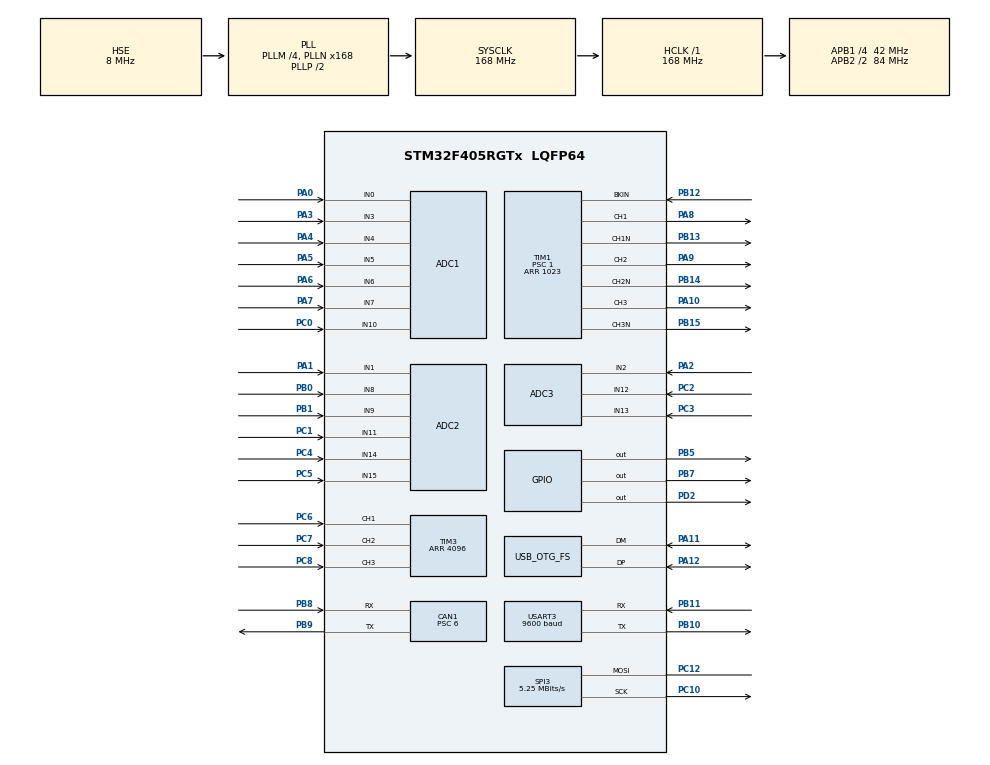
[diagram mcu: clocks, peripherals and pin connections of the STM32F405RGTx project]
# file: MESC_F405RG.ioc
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ADC1.Channel-0\#ChannelRegularConversion=ADC_CHANNEL_3
ADC1.Channel-1\#ChannelInjectedConversion=ADC_CHANNEL_10
ADC1.Channel-2\#ChannelInjectedConversion=ADC_CHANNEL_0
ADC1.Channel-3\#ChannelInjectedConversion=ADC_CHANNEL_4
ADC1.Channel-5\#ChannelRegularConversion=ADC_CHANNEL_4
ADC1.Channel-6\#ChannelRegularConversion=ADC_CHANNEL_5
ADC1.Channel-7\#ChannelRegularConversion=ADC_CHANNEL_6
ADC1.Channel-8\#ChannelRegularConversion=ADC_CHANNEL_7
ADC1.Channel-9\#ChannelInjectedConversion=ADC_CHANNEL_5
ADC1.DMAContinuousRequests=ENABLE
ADC1.EOCSelection=ADC_EOC_SEQ_CONV
ADC1.EnableAnalogWatchDog=true
ADC1.ExternalTrigConv=ADC_EXTERNALTRIGCONV_T2_TRGO
ADC1.ExternalTrigConvEdge=ADC_EXTERNALTRIGCONVEDGE_RISING
ADC1.ExternalTrigInjecConv=ADC_EXTERNALTRIGINJECCONV_T1_TRGO
ADC1.ExternalTrigInjecConvEdge=ADC_EXTERNALTRIGINJECCONVEDGE_FALLING
ADC1.HighThreshold=4048
ADC1.ITMode=ENABLE
ADC1.InjNumberOfConversion=4
ADC1.InjectedOffset-1\#ChannelInjectedConversion=0
ADC1.InjectedOffset-2\#ChannelInjectedConversion=0
ADC1.InjectedOffset-3\#ChannelInjectedConversion=0
ADC1.InjectedOffset-9\#ChannelInjectedConversion=0
ADC1.InjectedRank-1\#ChannelInjectedConversion=1
ADC1.InjectedRank-2\#ChannelInjectedConversion=2
ADC1.InjectedRank-3\#ChannelInjectedConversion=3
ADC1.InjectedRank-9\#ChannelInjectedConversion=4
ADC1.LowThreshold=48
ADC1.NbrOfConversion=5
ADC1.NbrOfConversionFlag=1
ADC1.Rank-0\#ChannelRegularConversion=1
ADC1.Rank-5\#ChannelRegularConversion=2
ADC1.Rank-6\#ChannelRegularConversion=3
ADC1.Rank-7\#ChannelRegularConversion=4
ADC1.Rank-8\#ChannelRegularConversion=5
ADC1.SamplingTime-0\#ChannelRegularConversion=ADC_SAMPLETIME_15CYCLES
ADC1.SamplingTime-1\#ChannelInjectedConversion=ADC_SAMPLETIME_15CYCLES
ADC1.SamplingTime-2\#ChannelInjectedConversion=ADC_SAMPLETIME_15CYCLES
ADC1.SamplingTime-3\#ChannelInjectedConversion=ADC_SAMPLETIME_15CYCLES
ADC1.SamplingTime-5\#ChannelRegularConversion=ADC_SAMPLETIME_15CYCLES
ADC1.SamplingTime-6\#ChannelRegularConversion=ADC_SAMPLETIME_15CYCLES
ADC1.SamplingTime-7\#ChannelRegularConversion=ADC_SAMPLETIME_15CYCLES
ADC1.SamplingTime-8\#ChannelRegularConversion=ADC_SAMPLETIME_15CYCLES
ADC1.SamplingTime-9\#ChannelInjectedConversion=ADC_SAMPLETIME_15CYCLES
ADC1.ScanConvMode=ENABLE
ADC1.WatchdogChannel=ADC_CHANNEL_10
ADC1.WatchdogMode=ADC_ANALOGWATCHDOG_SINGLE_INJEC
ADC1.master=1
ADC2.Channel-0\#ChannelRegularConversion=ADC_CHANNEL_14
ADC2.Channel-1\#ChannelInjectedConversion=ADC_CHANNEL_11
ADC2.Channel-2\#ChannelInjectedConversion=ADC_CHANNEL_1
ADC2.Channel-3\#ChannelInjectedConversion=ADC_CHANNEL_14
ADC2.Channel-5\#ChannelRegularConversion=ADC_CHANNEL_15
ADC2.Channel-6\#ChannelRegularConversion=ADC_CHANNEL_8
ADC2.Channel-7\#ChannelRegularConversion=ADC_CHANNEL_9
ADC2.Channel-8\#ChannelInjectedConversion=ADC_CHANNEL_15
ADC2.DMAContinuousRequests=ENABLE
ADC2.EOCSelection=ADC_EOC_SEQ_CONV
ADC2.EnableAnalogWatchDog=true
ADC2.ExternalTrigConv=ADC_EXTERNALTRIGCONV_T2_TRGO
ADC2.ExternalTrigInjecConv=ADC_EXTERNALTRIGINJECCONV_T1_TRGO
ADC2.ExternalTrigInjecConvEdge=ADC_EXTERNALTRIGINJECCONVEDGE_FALLING
ADC2.HighThreshold=4048
ADC2.ITMode=ENABLE
ADC2.InjNumberOfConversion=4
ADC2.InjectedOffset-1\#ChannelInjectedConversion=0
ADC2.InjectedOffset-2\#ChannelInjectedConversion=0
ADC2.InjectedOffset-3\#ChannelInjectedConversion=0
ADC2.InjectedOffset-8\#ChannelInjectedConversion=0
ADC2.InjectedRank-1\#ChannelInjectedConversion=1
ADC2.InjectedRank-2\#ChannelInjectedConversion=2
ADC2.InjectedRank-3\#ChannelInjectedConversion=3
ADC2.InjectedRank-8\#ChannelInjectedConversion=4
ADC2.LowThreshold=48
ADC2.NbrOfConversion=4
ADC2.NbrOfConversionFlag=1
ADC2.Rank-0\#ChannelRegularConversion=1
ADC2.Rank-5\#ChannelRegularConversion=2
ADC2.Rank-6\#ChannelRegularConversion=3
ADC2.Rank-7\#ChannelRegularConversion=4
ADC2.SamplingTime-0\#ChannelRegularConversion=ADC_SAMPLETIME_15CYCLES
ADC2.SamplingTime-1\#ChannelInjectedConversion=ADC_SAMPLETIME_15CYCLES
ADC2.SamplingTime-2\#ChannelInjectedConversion=ADC_SAMPLETIME_15CYCLES
ADC2.SamplingTime-3\#ChannelInjectedConversion=ADC_SAMPLETIME_15CYCLES
ADC2.SamplingTime-5\#ChannelRegularConversion=ADC_SAMPLETIME_15CYCLES
ADC2.SamplingTime-6\#ChannelRegularConversion=ADC_SAMPLETIME_15CYCLES
ADC2.SamplingTime-7\#ChannelRegularConversion=ADC_SAMPLETIME_15CYCLES
ADC2.SamplingTime-8\#ChannelInjectedConversion=ADC_SAMPLETIME_15CYCLES
ADC2.WatchdogChannel=ADC_CHANNEL_11
ADC2.WatchdogMode=ADC_ANALOGWATCHDOG_SINGLE_INJEC
ADC3.Channel-0\#ChannelRegularConversion=ADC_CHANNEL_12
ADC3.Channel-1\#ChannelInjectedConversion=ADC_CHANNEL_12
ADC3.Channel-2\#ChannelInjectedConversion=ADC_CHANNEL_2
ADC3.Channel-3\#ChannelInjectedConversion=ADC_CHANNEL_13
ADC3.Channel-4\#ChannelInjectedConversion=ADC_CHANNEL_2
ADC3.EOCSelection=ADC_EOC_SEQ_CONV
ADC3.EnableAnalogWatchDog=true
ADC3.ExternalTrigInjecConv=ADC_EXTERNALTRIGINJECCONV_T1_TRGO
ADC3.ExternalTrigInjecConvEdge=ADC_EXTERNALTRIGINJECCONVEDGE_FALLING
ADC3.HighThreshold=4048
ADC3.ITMode=ENABLE
ADC3.InjNumberOfConversion=4
ADC3.InjectedOffset-1\#ChannelInjectedConversion=0
ADC3.InjectedOffset-2\#ChannelInjectedConversion=0
ADC3.InjectedOffset-3\#ChannelInjectedConversion=0
ADC3.InjectedOffset-4\#ChannelInjectedConversion=0
ADC3.InjectedRank-1\#ChannelInjectedConversion=1
ADC3.InjectedRank-2\#ChannelInjectedConversion=2
ADC3.InjectedRank-3\#ChannelInjectedConversion=3
ADC3.InjectedRank-4\#ChannelInjectedConversion=4
ADC3.LowThreshold=48
ADC3.NbrOfConversionFlag=1
ADC3.Rank-0\#ChannelRegularConversion=1
ADC3.SamplingTime-0\#ChannelRegularConversion=ADC_SAMPLETIME_15CYCLES
ADC3.SamplingTime-1\#ChannelInjectedConversion=ADC_SAMPLETIME_15CYCLES
ADC3.SamplingTime-2\#ChannelInjectedConversion=ADC_SAMPLETIME_15CYCLES
ADC3.SamplingTime-3\#ChannelInjectedConversion=ADC_SAMPLETIME_15CYCLES
ADC3.SamplingTime-4\#ChannelInjectedConversion=ADC_SAMPLETIME_15CYCLES
ADC3.WatchdogChannel=ADC_CHANNEL_12
ADC3.WatchdogMode=ADC_ANALOGWATCHDOG_SINGLE_INJEC
CAN1.BS1=CAN_BS1_11TQ
CAN1.BS2=CAN_BS2_2TQ
CAN1.CalculateBaudRate=500000
CAN1.CalculateTimeBit=2000
CAN1.CalculateTimeQuantum=142.85714285714286
CAN1.NART=DISABLE
CAN1.Prescaler=6
CAN1.SJW=CAN_SJW_2TQ
CAN1.TXFP=ENABLE
Dma.ADC1.2.Direction=DMA_PERIPH_TO_MEMORY
Dma.ADC1.2.FIFOMode=DMA_FIFOMODE_DISABLE
Dma.ADC1.2.Instance=DMA2_Stream0
Dma.ADC1.2.MemDataAlignment=DMA_MDATAALIGN_WORD
Dma.ADC1.2.MemInc=DMA_MINC_ENABLE
Dma.ADC1.2.Mode=DMA_CIRCULAR
Dma.ADC1.2.PeriphDataAlignment=DMA_PDATAALIGN_WORD
Dma.ADC1.2.PeriphInc=DMA_PINC_DISABLE
Dma.ADC1.2.Priority=DMA_PRIORITY_LOW
Dma.ADC2.3.Direction=DMA_PERIPH_TO_MEMORY
Dma.ADC2.3.FIFOMode=DMA_FIFOMODE_DISABLE
Dma.ADC2.3.Instance=DMA2_Stream2
Dma.ADC2.3.MemDataAlignment=DMA_MDATAALIGN_WORD
Dma.ADC2.3.MemInc=DMA_MINC_ENABLE
Dma.ADC2.3.Mode=DMA_CIRCULAR
Dma.ADC2.3.PeriphDataAlignment=DMA_PDATAALIGN_WORD
Dma.ADC2.3.PeriphInc=DMA_PINC_DISABLE
Dma.ADC2.3.Priority=DMA_PRIORITY_LOW
Dma.Request0=USART3_TX
Dma.Request1=USART3_RX
Dma.Request2=ADC1
Dma.Request3=ADC2
Dma.Request4=SPI3_RX
Dma.Request5=SPI3_TX
Dma.SPI3_RX.4.Direction=DMA_PERIPH_TO_MEMORY
Dma.SPI3_RX.4.FIFOMode=DMA_FIFOMODE_DISABLE
Dma.SPI3_RX.4.Instance=DMA1_Stream0
Dma.SPI3_RX.4.MemDataAlignment=DMA_MDATAALIGN_HALFWORD
Dma.SPI3_RX.4.MemInc=DMA_MINC_ENABLE
Dma.SPI3_RX.4.Mode=DMA_NORMAL
Dma.SPI3_RX.4.PeriphDataAlignment=DMA_PDATAALIGN_HALFWORD
Dma.SPI3_RX.4.PeriphInc=DMA_PINC_DISABLE
Dma.SPI3_RX.4.Priority=DMA_PRIORITY_LOW
Dma.SPI3_TX.5.Direction=DMA_MEMORY_TO_PERIPH
Dma.SPI3_TX.5.FIFOMode=DMA_FIFOMODE_DISABLE
Dma.SPI3_TX.5.Instance=DMA1_Stream5
Dma.SPI3_TX.5.MemDataAlignment=DMA_MDATAALIGN_HALFWORD
Dma.SPI3_TX.5.MemInc=DMA_MINC_ENABLE
Dma.SPI3_TX.5.Mode=DMA_NORMAL
Dma.SPI3_TX.5.PeriphDataAlignment=DMA_PDATAALIGN_HALFWORD
Dma.SPI3_TX.5.PeriphInc=DMA_PINC_DISABLE
Dma.SPI3_TX.5.Priority=DMA_PRIORITY_LOW
Dma.USART3_RX.1.Direction=DMA_PERIPH_TO_MEMORY
Dma.USART3_RX.1.FIFOMode=DMA_FIFOMODE_DISABLE
Dma.USART3_RX.1.Instance=DMA1_Stream1
Dma.USART3_RX.1.MemDataAlignment=DMA_MDATAALIGN_BYTE
Dma.USART3_RX.1.MemInc=DMA_MINC_ENABLE
Dma.USART3_RX.1.Mode=DMA_CIRCULAR
Dma.USART3_RX.1.PeriphDataAlignment=DMA_PDATAALIGN_BYTE
Dma.USART3_RX.1.PeriphInc=DMA_PINC_DISABLE
Dma.USART3_RX.1.Priority=DMA_PRIORITY_LOW
Dma.USART3_TX.0.Direction=DMA_MEMORY_TO_PERIPH
Dma.USART3_TX.0.FIFOMode=DMA_FIFOMODE_DISABLE
Dma.USART3_TX.0.Instance=DMA1_Stream3
Dma.USART3_TX.0.MemDataAlignment=DMA_MDATAALIGN_BYTE
Dma.USART3_TX.0.MemInc=DMA_MINC_ENABLE
Dma.USART3_TX.0.Mode=DMA_NORMAL
Dma.USART3_TX.0.PeriphDataAlignment=DMA_PDATAALIGN_BYTE
Dma.USART3_TX.0.PeriphInc=DMA_PINC_DISABLE
Dma.USART3_TX.0.Priority=DMA_PRIORITY_LOW
FREERTOS.Tasks01=defaultTask,24,256,StartDefaultTask,Default,NULL,Dynamic,NULL,NULL
FREERTOS.configENABLE_FPU=1
FREERTOS.configRECORD_STACK_HIGH_ADDRESS=1
FREERTOS.configTOTAL_HEAP_SIZE=64000
FREERTOS.configUSE_NEWLIB_REENTRANT=1
Mcu.Family=STM32F4
Mcu.Name=STM32F405RGTx
Mcu.Package=LQFP64
NVIC.ADC_IRQn=true\:2\:0\:true\:false\:true\:false\:true\:false\:true
NVIC.CAN1_RX0_IRQn=true\:5\:0\:false\:false\:false\:true\:true\:false\:true
NVIC.DMA1_Stream0_IRQn=true\:5\:0\:false\:false\:true\:true\:true\:true\:true
NVIC.DMA1_Stream1_IRQn=true\:5\:0\:false\:false\:true\:true\:false\:true\:true
NVIC.DMA1_Stream3_IRQn=true\:5\:0\:true\:false\:true\:true\:false\:true\:true
NVIC.DMA1_Stream5_IRQn=true\:5\:0\:false\:false\:true\:true\:true\:true\:true
NVIC.OTG_FS_IRQn=true\:5\:0\:true\:false\:true\:true\:true\:true\:true
NVIC.PriorityGroup=NVIC_PRIORITYGROUP_4
NVIC.TIM1_UP_TIM10_IRQn=true\:1\:0\:true\:false\:true\:false\:true\:false\:true
NVIC.TIM2_IRQn=true\:3\:0\:true\:false\:true\:false\:true\:false\:true
NVIC.TIM4_IRQn=true\:4\:0\:true\:false\:true\:false\:true\:false\:true
NVIC.TIM6_DAC_IRQn=true\:15\:0\:false\:false\:true\:false\:false\:true\:true
NVIC.TimeBase=TIM6_DAC_IRQn
NVIC.TimeBaseIP=TIM6
NVIC.USART3_IRQn=true\:5\:0\:true\:false\:true\:true\:true\:true\:true
PA0-WKUP.Signal=ADCx_IN0
PA1.Signal=ADCx_IN1
PA10.Signal=S_TIM1_CH3
PA11.Mode=Device_Only
PA11.Signal=USB_OTG_FS_DM
PA12.Mode=Device_Only
PA12.Signal=USB_OTG_FS_DP
PA13.Mode=Trace_Asynchronous_SW
PA13.Signal=SYS_JTMS-SWDIO
PA14.Mode=Trace_Asynchronous_SW
PA14.Signal=SYS_JTCK-SWCLK
PA2.Signal=ADCx_IN2
PA3.Signal=ADCx_IN3
PA4.Signal=ADCx_IN4
PA5.Signal=ADCx_IN5
PA6.Signal=ADCx_IN6
PA7.Signal=ADCx_IN7
PA8.Signal=S_TIM1_CH1
PA9.Signal=S_TIM1_CH2
PB0.Signal=ADCx_IN8
PB1.Signal=ADCx_IN9
PB10.Signal=SharedStack_PB10
PB10.Stacked=true
PB11.Signal=SharedStack_PB11
PB11.Stacked=true
PB12.Mode=Activate-Break-Input
PB12.Signal=TIM1_BKIN
PB13.Mode=PWM Generation1 CH1 CH1N
PB13.Signal=TIM1_CH1N
PB14.Mode=PWM Generation2 CH2 CH2N
PB14.Signal=TIM1_CH2N
PB15.Mode=PWM Generation3 CH3 CH3N
PB15.Signal=TIM1_CH3N
PB3.Mode=Trace_Asynchronous_SW
PB3.Signal=SYS_JTDO-SWO
PB5.Signal=GPIO_Output
PB7.Signal=GPIO_Output
PB8.Mode=CAN_Activate
PB8.Signal=CAN1_RX
PB9.Mode=CAN_Activate
PB9.Signal=CAN1_TX
PC0.Signal=ADCx_IN10
PC1.Signal=ADCx_IN11
PC10.Mode=Simplex_Bidirectional_Master
PC10.Signal=SPI3_SCK
PC11.Signal=SPI3_MISO
PC12.Mode=Simplex_Bidirectional_Master
PC12.Signal=SPI3_MOSI
PC2.Signal=ADCx_IN12
PC3.Signal=ADCx_IN13
PC4.Signal=ADCx_IN14
PC5.Signal=ADCx_IN15
PC6.Signal=S_TIM3_CH1
PC7.Signal=S_TIM3_CH2
PC8.Signal=S_TIM3_CH3
PD2.Signal=GPIO_Output
PH0-OSC_IN.Mode=HSE-External-Oscillator
PH0-OSC_IN.Signal=RCC_OSC_IN
PH1-OSC_OUT.Mode=HSE-External-Oscillator
PH1-OSC_OUT.Signal=RCC_OSC_OUT
ProjectManager.HeapSize=0x200
ProjectManager.StackSize=0x400
ProjectManager.TargetToolchain=STM32CubeIDE
RCC.48MHZClocksFreq_Value=48000000
RCC.AHBFreq_Value=168000000
RCC.APB1CLKDivider=RCC_HCLK_DIV4
RCC.APB1Freq_Value=42000000
RCC.APB1TimFreq_Value=84000000
RCC.APB2CLKDivider=RCC_HCLK_DIV2
RCC.APB2Freq_Value=84000000
RCC.APB2TimFreq_Value=168000000
RCC.CortexFreq_Value=168000000
RCC.HCLKFreq_Value=168000000
RCC.HSE_VALUE=8000000
RCC.HSI_VALUE=16000000
RCC.LSE_VALUE=32768
RCC.PLLM=4
RCC.PLLN=168
RCC.PLLQ=7
RCC.SYSCLKFreq_VALUE=168000000
RCC.SYSCLKSource=RCC_SYSCLKSOURCE_PLLCLK
RCC.VCOOutputFreq_Value=336000000
SH.ADCx_IN0.0=ADC1_IN0,IN0
SH.ADCx_IN1.0=ADC2_IN1,IN1
SH.ADCx_IN10.0=ADC1_IN10,IN10
SH.ADCx_IN11.0=ADC2_IN11,IN11
SH.ADCx_IN12.0=ADC3_IN12,IN12
SH.ADCx_IN13.0=ADC3_IN13,IN13
SH.ADCx_IN14.0=ADC2_IN14,IN14
SH.ADCx_IN15.0=ADC2_IN15,IN15
SH.ADCx_IN2.0=ADC3_IN2,IN2
SH.ADCx_IN3.0=ADC1_IN3,IN3
SH.ADCx_IN4.0=ADC1_IN4,IN4
SH.ADCx_IN5.0=ADC1_IN5,IN5
SH.ADCx_IN6.0=ADC1_IN6,IN6
SH.ADCx_IN7.0=ADC1_IN7,IN7
SH.ADCx_IN8.0=ADC2_IN8,IN8
SH.ADCx_IN9.0=ADC2_IN9,IN9
SH.S_TIM1_CH1.0=TIM1_CH1,PWM Generation1 CH1 CH1N
SH.S_TIM1_CH2.0=TIM1_CH2,PWM Generation2 CH2 CH2N
SH.S_TIM1_CH3.0=TIM1_CH3,PWM Generation3 CH3 CH3N
SH.S_TIM3_CH1.0=TIM3_CH1,Encoder_Interface
SH.S_TIM3_CH2.0=TIM3_CH2,Encoder_Interface
SH.S_TIM3_CH3.0=TIM3_CH3,Input_Capture3_from_TI3
SH.SharedStack_PB10.0=USART3_TX,Asynchronous
SH.SharedStack_PB10.1=I2C2_SCL
SH.SharedStack_PB11.0=USART3_RX,Asynchronous
SH.SharedStack_PB11.1=I2C2_SDA
SPI3.BaudRatePrescaler=SPI_BAUDRATEPRESCALER_8
SPI3.CLKPhase=SPI_PHASE_2EDGE
SPI3.CalculateBaudRate=5.25 MBits/s
SPI3.DataSize=SPI_DATASIZE_16BIT
SPI3.Direction=SPI_DIRECTION_1LINE
SPI3.Mode=SPI_MODE_MASTER
SPI3.VirtualType=VM_MASTER
TIM1.BreakPolarity=TIM_BREAKPOLARITY_LOW
TIM1.Channel-PWM\ Generation1\ CH1\ CH1N=TIM_CHANNEL_1
TIM1.Channel-PWM\ Generation2\ CH2\ CH2N=TIM_CHANNEL_2
TIM1.Channel-PWM\ Generation3\ CH3\ CH3N=TIM_CHANNEL_3
TIM1.Channel-PWM\ Generation4\ No\ Output=TIM_CHANNEL_4
TIM1.CounterMode=TIM_COUNTERMODE_CENTERALIGNED1
TIM1.DeadTime=80
TIM1.OffStateIDLEMode=TIM_OSSI_ENABLE
TIM1.OffStateRunMode=TIM_OSSR_ENABLE
TIM1.Period=1023
TIM1.Prescaler=1
TIM1.Pulse-PWM\ Generation1\ CH1\ CH1N=512
TIM1.Pulse-PWM\ Generation2\ CH2\ CH2N=512
TIM1.Pulse-PWM\ Generation3\ CH3\ CH3N=512
TIM1.Pulse-PWM\ Generation4\ No\ Output=512
TIM1.TIM_MasterOutputTrigger=TIM_TRGO_OC4REF
TIM2.Channel-PWM\ Generation1\ No\ Output=TIM_CHANNEL_1
TIM2.Period=9999
TIM2.Prescaler=83
TIM2.TIM_MasterOutputTrigger=TIM_TRGO_UPDATE
TIM3.Channel-Input_Capture3_from_TI3=TIM_CHANNEL_3
TIM3.EncoderMode=TIM_ENCODERMODE_TI12
TIM3.ICFilter_CH3=3
TIM3.Period=4096
TIM4.Channel-Output\ Compare3\ No\ Output=TIM_CHANNEL_3
TIM4.Channel-PWM\ Generation1\ No\ Output=TIM_CHANNEL_1
TIM4.CounterMode=TIM_COUNTERMODE_UP
TIM4.Prescaler=83
USART3.BaudRate=9600
USART3.VirtualMode=VM_ASYNC
USB_DEVICE.APP_RX_DATA_SIZE-CDC_FS=2048
USB_DEVICE.APP_TX_DATA_SIZE-CDC_FS=2048
USB_DEVICE.CLASS_NAME_FS=CDC
USB_DEVICE.VirtualMode-CDC_FS=Cdc
USB_DEVICE.VirtualModeFS=Cdc_FS
USB_OTG_FS.VirtualMode=Device_Only
VP_FREERTOS_VS_CMSIS_V2.Mode=CMSIS_V2
VP_SYS_VS_tim6.Mode=TIM6
VP_TIM1_VS_no_output4.Mode=PWM Generation4 No Output
VP_TIM2_VS_no_output1.Mode=PWM Generation1 No Output
VP_TIM4_VS_no_output1.Mode=PWM Generation1 No Output
VP_TIM4_VS_no_output3.Mode=Output Compare3 No Output
VP_TIM7_VS_ClockSourceINT.Mode=Enable_Timer
VP_USB_DEVICE_VS_USB_DEVICE_CDC_FS.Mode=CDC_FS
board=custom

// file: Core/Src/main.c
/* USER CODE BEGIN Header */
/**
 ******************************************************************************
 * @file           : main.c
 * @brief          : Main program body
 ******************************************************************************
 * @attention
 *
 * <h2><center>&copy; Copyright (c) 2021 STMicroelectronics.
 * All rights reserved.</center></h2>
 *
 * This software component is licensed by ST under BSD 3-Clause license,
 * the "License"; You may not use this file except in compliance with the
 * License. You may obtain a copy of the License at:
 *                        opensource.org/licenses/BSD-3-Clause
 *
 ******************************************************************************
 */
/* USER CODE END Header */
#include "main.h"
#include "cmsis_os.h"
#include "usb_device.h"

/* USER CODE BEGIN Includes */
#include "MESCmotor.h"
#include "MESCtemp.h"

#include "MESCmotor_state.h"
#include "MPU6050.h"

#include "Tasks/init.h"

/* USER CODE END Includes */

ADC_HandleTypeDef hadc1;
ADC_HandleTypeDef hadc2;
ADC_HandleTypeDef hadc3;
DMA_HandleTypeDef hdma_adc1;
DMA_HandleTypeDef hdma_adc2;

CAN_HandleTypeDef hcan1;

SPI_HandleTypeDef hspi3;
DMA_HandleTypeDef hdma_spi3_rx;
DMA_HandleTypeDef hdma_spi3_tx;

TIM_HandleTypeDef htim1;
TIM_HandleTypeDef htim2;
TIM_HandleTypeDef htim3;
TIM_HandleTypeDef htim4;
TIM_HandleTypeDef htim7;

UART_HandleTypeDef huart3;
DMA_HandleTypeDef hdma_usart3_tx;
DMA_HandleTypeDef hdma_usart3_rx;

/* Definitions for defaultTask */
osThreadId_t defaultTaskHandle;
const osThreadAttr_t defaultTask_attributes = {
  .name = "defaultTask",
  .stack_size = 256 * 4,
  .priority = (osPriority_t) osPriorityNormal,
};
/* USER CODE BEGIN PV */
I2C_HandleTypeDef hi2c2;
uint16_t MPU_present, MPU_present2;
MPU6050_data_t MPU_instance_1, MPU_instance_2;
#define MPU6050_ADDR 0xD0
#define DAC_MEMORY_ADDRESS 0x40007400
#define DAC_VALUE_ADDRESS 0x40007408

/* USER CODE END PV */

void SystemClock_Config(void);
static void MX_GPIO_Init(void);
static void MX_DMA_Init(void);
static void MX_ADC1_Init(void);
static void MX_ADC2_Init(void);
static void MX_ADC3_Init(void);
static void MX_TIM1_Init(void);
static void MX_TIM4_Init(void);
static void MX_USART3_UART_Init(void);
static void MX_TIM7_Init(void);
static void MX_SPI3_Init(void);
static void MX_TIM2_Init(void);
static void MX_TIM3_Init(void);
static void MX_CAN1_Init(void);
void StartDefaultTask(void *argument);

/* USER CODE BEGIN PFP */
static void MX_I2C2_Init(void);

/* USER CODE END PFP */

int main(void)
{

  /* MCU Configuration--------------------------------------------------------*/

  /* Reset of all peripherals, Initializes the Flash interface and the Systick. */
  HAL_Init();

  /* Configure the system clock */
  SystemClock_Config();

  /* Initialize all configured peripherals */
  MX_GPIO_Init();
  MX_DMA_Init();
  MX_ADC1_Init();
  MX_ADC2_Init();
  MX_ADC3_Init();
  MX_TIM1_Init();
  MX_TIM4_Init();
  MX_USART3_UART_Init();
  MX_TIM7_Init();
  MX_SPI3_Init();
  MX_TIM2_Init();
  MX_TIM3_Init();
  MX_CAN1_Init();
  /* USER CODE BEGIN 2 */
  //MX_I2C2_Init();

//
#ifdef DAC_REF
  RCC->APB1ENR |= (0x01<<29);
  volatile uint32_t* dacaddr = (volatile  uint32_t*)DAC_MEMORY_ADDRESS;
 *dacaddr = 1;
 volatile uint32_t* dacvaladdr = (volatile  uint32_t*)DAC_VALUE_ADDRESS;
 *dacvaladdr = 2048;
#endif

#ifdef IC_TIMER
  MESC_IC_Init(IC_TIMER);
#endif
HAL_TIM_Encoder_Start(&htim3, TIM_CHANNEL_1);
HAL_TIM_Encoder_Start(&htim3, TIM_CHANNEL_2);
HAL_TIM_IC_Start(&htim3, TIM_CHANNEL_3);

#ifdef USE_SPI_ENCODER
  HAL_SPI_Init(&hspi3);
#endif

  HAL_TIM_Base_Start(&htim7);
  /*
  Starting System Initialisation
  */

  /*
  Finished System Initialisation
  */
HAL_Delay(1);
  //Set motor timer
  mtr[0].mtimer = &htim1;
  mtr[0].stimer = &htim2;

  mtr[0].enctimer = &htim3;
  //mtr[0].encspi = &hspi3;
  motor_init(&mtr[0]);
  MESCfoc_Init(&mtr[0]);

#ifdef PULLUP_HALL
 GPIO_
#endif
 GPIOC->PUPDR |= 0b010101000000000000; //Set hall sensor pullups
// GPIOB->PUPDR |= 0b0101000000000000000000; //Set tx rx with pullups

  /* USER CODE END 2 */

  /* Init scheduler */
  osKernelInitialize();

  /* Create the thread(s) */
  /* creation of defaultTask */
  defaultTaskHandle = osThreadNew(StartDefaultTask, NULL, &defaultTask_attributes);

  /* USER CODE BEGIN RTOS_EVENTS */
  /* add events, ... */
  init_system();

  /* USER CODE END RTOS_EVENTS */

  /* Start scheduler */
  osKernelStart();

  /* We should never get here as control is now taken by the scheduler */

  /* Infinite loop */
  /* USER CODE BEGIN WHILE */

  HAL_Delay(1000);
  //MotorState = MOTOR_STATE_RUN;
  HAL_Delay(1000);

#if 0                                  // INIT FLASH
  while (MotorState == MOTOR_STATE_MEASURING) {
    __NOP();
  }
  MotorState = MOTOR_STATE_DETECTING;
  while (MotorState == MOTOR_STATE_DETECTING) {
    __NOP();
  }
#endif

  while (1) {
    /* USER CODE END WHILE */

  }
}

void SystemClock_Config(void)
{
  RCC_OscInitTypeDef RCC_OscInitStruct = {0};
  RCC_ClkInitTypeDef RCC_ClkInitStruct = {0};

  /** Configure the main internal regulator output voltage
  */
  __HAL_RCC_PWR_CLK_ENABLE();
  __HAL_PWR_VOLTAGESCALING_CONFIG(PWR_REGULATOR_VOLTAGE_SCALE1);

  /** Initializes the RCC Oscillators according to the specified parameters
  * in the RCC_OscInitTypeDef structure.
  */
  RCC_OscInitStruct.OscillatorType = RCC_OSCILLATORTYPE_HSE;
  RCC_OscInitStruct.HSEState = RCC_HSE_ON;
  RCC_OscInitStruct.PLL.PLLState = RCC_PLL_ON;
  RCC_OscInitStruct.PLL.PLLSource = RCC_PLLSOURCE_HSE;
  RCC_OscInitStruct.PLL.PLLM = 4;
  RCC_OscInitStruct.PLL.PLLN = 168;
  RCC_OscInitStruct.PLL.PLLP = RCC_PLLP_DIV2;
  RCC_OscInitStruct.PLL.PLLQ = 7;
  if (HAL_RCC_OscConfig(&RCC_OscInitStruct) != HAL_OK)
  {
    Error_Handler();
  }

  /** Initializes the CPU, AHB and APB buses clocks
  */
  RCC_ClkInitStruct.ClockType = RCC_CLOCKTYPE_HCLK|RCC_CLOCKTYPE_SYSCLK
                              |RCC_CLOCKTYPE_PCLK1|RCC_CLOCKTYPE_PCLK2;
  RCC_ClkInitStruct.SYSCLKSource = RCC_SYSCLKSOURCE_PLLCLK;
  RCC_ClkInitStruct.AHBCLKDivider = RCC_SYSCLK_DIV1;
  RCC_ClkInitStruct.APB1CLKDivider = RCC_HCLK_DIV4;
  RCC_ClkInitStruct.APB2CLKDivider = RCC_HCLK_DIV2;

  if (HAL_RCC_ClockConfig(&RCC_ClkInitStruct, FLASH_LATENCY_5) != HAL_OK)
  {
    Error_Handler();
  }
}

static void MX_ADC1_Init(void)
{

  ADC_AnalogWDGConfTypeDef AnalogWDGConfig = {0};
  ADC_ChannelConfTypeDef sConfig = {0};
  ADC_InjectionConfTypeDef sConfigInjected = {0};

  /** Configure the global features of the ADC (Clock, Resolution, Data Alignment and number of conversion)
  */
  hadc1.Instance = ADC1;
  hadc1.Init.ClockPrescaler = ADC_CLOCK_SYNC_PCLK_DIV4;
  hadc1.Init.Resolution = ADC_RESOLUTION_12B;
  hadc1.Init.ScanConvMode = ENABLE;
  hadc1.Init.ContinuousConvMode = DISABLE;
  hadc1.Init.DiscontinuousConvMode = DISABLE;
  hadc1.Init.ExternalTrigConvEdge = ADC_EXTERNALTRIGCONVEDGE_RISING;
  hadc1.Init.ExternalTrigConv = ADC_EXTERNALTRIGCONV_T2_TRGO;
  hadc1.Init.DataAlign = ADC_DATAALIGN_RIGHT;
  hadc1.Init.NbrOfConversion = 5;
  hadc1.Init.DMAContinuousRequests = ENABLE;
  hadc1.Init.EOCSelection = ADC_EOC_SEQ_CONV;
  if (HAL_ADC_Init(&hadc1) != HAL_OK)
  {
    Error_Handler();
  }

  /** Configure the analog watchdog
  */
  AnalogWDGConfig.WatchdogMode = ADC_ANALOGWATCHDOG_SINGLE_INJEC;
  AnalogWDGConfig.HighThreshold = 4048;
  AnalogWDGConfig.LowThreshold = 48;
  AnalogWDGConfig.Channel = ADC_CHANNEL_10;
  AnalogWDGConfig.ITMode = ENABLE;
  if (HAL_ADC_AnalogWDGConfig(&hadc1, &AnalogWDGConfig) != HAL_OK)
  {
    Error_Handler();
  }

  /** Configure for the selected ADC regular channel its corresponding rank in the sequencer and its sample time.
  */
  sConfig.Channel = ADC_CHANNEL_3;
  sConfig.Rank = 1;
  sConfig.SamplingTime = ADC_SAMPLETIME_15CYCLES;
  if (HAL_ADC_ConfigChannel(&hadc1, &sConfig) != HAL_OK)
  {
    Error_Handler();
  }

  /** Configure for the selected ADC regular channel its corresponding rank in the sequencer and its sample time.
  */
  sConfig.Channel = ADC_CHANNEL_4;
  sConfig.Rank = 2;
  if (HAL_ADC_ConfigChannel(&hadc1, &sConfig) != HAL_OK)
  {
    Error_Handler();
  }

  /** Configure for the selected ADC regular channel its corresponding rank in the sequencer and its sample time.
  */
  sConfig.Channel = ADC_CHANNEL_5;
  sConfig.Rank = 3;
  if (HAL_ADC_ConfigChannel(&hadc1, &sConfig) != HAL_OK)
  {
    Error_Handler();
  }

  /** Configure for the selected ADC regular channel its corresponding rank in the sequencer and its sample time.
  */
  sConfig.Channel = ADC_CHANNEL_6;
  sConfig.Rank = 4;
  if (HAL_ADC_ConfigChannel(&hadc1, &sConfig) != HAL_OK)
  {
    Error_Handler();
  }

  /** Configure for the selected ADC regular channel its corresponding rank in the sequencer and its sample time.
  */
  sConfig.Channel = ADC_CHANNEL_7;
  sConfig.Rank = 5;
  if (HAL_ADC_ConfigChannel(&hadc1, &sConfig) != HAL_OK)
  {
    Error_Handler();
  }

  /** Configures for the selected ADC injected channel its corresponding rank in the sequencer and its sample time
  */
  sConfigInjected.InjectedChannel = ADC_CHANNEL_10;
  sConfigInjected.InjectedRank = 1;
  sConfigInjected.InjectedNbrOfConversion = 4;
  sConfigInjected.InjectedSamplingTime = ADC_SAMPLETIME_15CYCLES;
  sConfigInjected.ExternalTrigInjecConvEdge = ADC_EXTERNALTRIGINJECCONVEDGE_FALLING;
  sConfigInjected.ExternalTrigInjecConv = ADC_EXTERNALTRIGINJECCONV_T1_TRGO;
  sConfigInjected.AutoInjectedConv = DISABLE;
  sConfigInjected.InjectedDiscontinuousConvMode = DISABLE;
  sConfigInjected.InjectedOffset = 0;
  if (HAL_ADCEx_InjectedConfigChannel(&hadc1, &sConfigInjected) != HAL_OK)
  {
    Error_Handler();
  }

  /** Configures for the selected ADC injected channel its corresponding rank in the sequencer and its sample time
  */
  sConfigInjected.InjectedChannel = ADC_CHANNEL_0;
  sConfigInjected.InjectedRank = 2;
  if (HAL_ADCEx_InjectedConfigChannel(&hadc1, &sConfigInjected) != HAL_OK)
  {
    Error_Handler();
  }

  /** Configures for the selected ADC injected channel its corresponding rank in the sequencer and its sample time
  */
  sConfigInjected.InjectedChannel = ADC_CHANNEL_4;
  sConfigInjected.InjectedRank = 3;
  if (HAL_ADCEx_InjectedConfigChannel(&hadc1, &sConfigInjected) != HAL_OK)
  {
    Error_Handler();
  }

  /** Configures for the selected ADC injected channel its corresponding rank in the sequencer and its sample time
  */
  sConfigInjected.InjectedChannel = ADC_CHANNEL_5;
  sConfigInjected.InjectedRank = 4;
  if (HAL_ADCEx_InjectedConfigChannel(&hadc1, &sConfigInjected) != HAL_OK)
  {
    Error_Handler();
  }

}

static void MX_ADC2_Init(void)
{

  ADC_AnalogWDGConfTypeDef AnalogWDGConfig = {0};
  ADC_ChannelConfTypeDef sConfig = {0};
  ADC_InjectionConfTypeDef sConfigInjected = {0};

  /** Configure the global features of the ADC (Clock, Resolution, Data Alignment and number of conversion)
  */
  hadc2.Instance = ADC2;
  hadc2.Init.ClockPrescaler = ADC_CLOCK_SYNC_PCLK_DIV4;
  hadc2.Init.Resolution = ADC_RESOLUTION_12B;
  hadc2.Init.ScanConvMode = ENABLE;
  hadc2.Init.ContinuousConvMode = DISABLE;
  hadc2.Init.DiscontinuousConvMode = DISABLE;
  hadc2.Init.ExternalTrigConvEdge = ADC_EXTERNALTRIGCONVEDGE_RISING;
  hadc2.Init.ExternalTrigConv = ADC_EXTERNALTRIGCONV_T2_TRGO;
  hadc2.Init.DataAlign = ADC_DATAALIGN_RIGHT;
  hadc2.Init.NbrOfConversion = 4;
  hadc2.Init.DMAContinuousRequests = ENABLE;
  hadc2.Init.EOCSelection = ADC_EOC_SEQ_CONV;
  if (HAL_ADC_Init(&hadc2) != HAL_OK)
  {
    Error_Handler();
  }

  /** Configure the analog watchdog
  */
  AnalogWDGConfig.WatchdogMode = ADC_ANALOGWATCHDOG_SINGLE_INJEC;
  AnalogWDGConfig.HighThreshold = 4048;
  AnalogWDGConfig.LowThreshold = 48;
  AnalogWDGConfig.Channel = ADC_CHANNEL_11;
  AnalogWDGConfig.ITMode = ENABLE;
  if (HAL_ADC_AnalogWDGConfig(&hadc2, &AnalogWDGConfig) != HAL_OK)
  {
    Error_Handler();
  }

  /** Configure for the selected ADC regular channel its corresponding rank in the sequencer and its sample time.
  */
  sConfig.Channel = ADC_CHANNEL_14;
  sConfig.Rank = 1;
  sConfig.SamplingTime = ADC_SAMPLETIME_15CYCLES;
  if (HAL_ADC_ConfigChannel(&hadc2, &sConfig) != HAL_OK)
  {
    Error_Handler();
  }

  /** Configure for the selected ADC regular channel its corresponding rank in the sequencer and its sample time.
  */
  sConfig.Channel = ADC_CHANNEL_15;
  sConfig.Rank = 2;
  if (HAL_ADC_ConfigChannel(&hadc2, &sConfig) != HAL_OK)
  {
    Error_Handler();
  }

  /** Configure for the selected ADC regular channel its corresponding rank in the sequencer and its sample time.
  */
  sConfig.Channel = ADC_CHANNEL_8;
  sConfig.Rank = 3;
  if (HAL_ADC_ConfigChannel(&hadc2, &sConfig) != HAL_OK)
  {
    Error_Handler();
  }

  /** Configure for the selected ADC regular channel its corresponding rank in the sequencer and its sample time.
  */
  sConfig.Channel = ADC_CHANNEL_9;
  sConfig.Rank = 4;
  if (HAL_ADC_ConfigChannel(&hadc2, &sConfig) != HAL_OK)
  {
    Error_Handler();
  }

  /** Configures for the selected ADC injected channel its corresponding rank in the sequencer and its sample time
  */
  sConfigInjected.InjectedChannel = ADC_CHANNEL_11;
  sConfigInjected.InjectedRank = 1;
  sConfigInjected.InjectedNbrOfConversion = 4;
  sConfigInjected.InjectedSamplingTime = ADC_SAMPLETIME_15CYCLES;
  sConfigInjected.ExternalTrigInjecConvEdge = ADC_EXTERNALTRIGINJECCONVEDGE_FALLING;
  sConfigInjected.ExternalTrigInjecConv = ADC_EXTERNALTRIGINJECCONV_T1_TRGO;
  sConfigInjected.AutoInjectedConv = DISABLE;
  sConfigInjected.InjectedDiscontinuousConvMode = DISABLE;
  sConfigInjected.InjectedOffset = 0;
  if (HAL_ADCEx_InjectedConfigChannel(&hadc2, &sConfigInjected) != HAL_OK)
  {
    Error_Handler();
  }

  /** Configures for the selected ADC injected channel its corresponding rank in the sequencer and its sample time
  */
  sConfigInjected.InjectedChannel = ADC_CHANNEL_1;
  sConfigInjected.InjectedRank = 2;
  if (HAL_ADCEx_InjectedConfigChannel(&hadc2, &sConfigInjected) != HAL_OK)
  {
    Error_Handler();
  }

  /** Configures for the selected ADC injected channel its corresponding rank in the sequencer and its sample time
  */
  sConfigInjected.InjectedChannel = ADC_CHANNEL_14;
  sConfigInjected.InjectedRank = 3;
  if (HAL_ADCEx_InjectedConfigChannel(&hadc2, &sConfigInjected) != HAL_OK)
  {
    Error_Handler();
  }

  /** Configures for the selected ADC injected channel its corresponding rank in the sequencer and its sample time
  */
  sConfigInjected.InjectedChannel = ADC_CHANNEL_15;
  sConfigInjected.InjectedRank = 4;
  if (HAL_ADCEx_InjectedConfigChannel(&hadc2, &sConfigInjected) != HAL_OK)
  {
    Error_Handler();
  }

}

static void MX_ADC3_Init(void)
{

  ADC_AnalogWDGConfTypeDef AnalogWDGConfig = {0};
  ADC_ChannelConfTypeDef sConfig = {0};
  ADC_InjectionConfTypeDef sConfigInjected = {0};

  /** Configure the global features of the ADC (Clock, Resolution, Data Alignment and number of conversion)
  */
  hadc3.Instance = ADC3;
  hadc3.Init.ClockPrescaler = ADC_CLOCK_SYNC_PCLK_DIV4;
  hadc3.Init.Resolution = ADC_RESOLUTION_12B;
  hadc3.Init.ScanConvMode = ENABLE;
  hadc3.Init.ContinuousConvMode = DISABLE;
  hadc3.Init.DiscontinuousConvMode = DISABLE;
  hadc3.Init.ExternalTrigConvEdge = ADC_EXTERNALTRIGCONVEDGE_NONE;
  hadc3.Init.ExternalTrigConv = ADC_SOFTWARE_START;
  hadc3.Init.DataAlign = ADC_DATAALIGN_RIGHT;
  hadc3.Init.NbrOfConversion = 1;
  hadc3.Init.DMAContinuousRequests = DISABLE;
  hadc3.Init.EOCSelection = ADC_EOC_SEQ_CONV;
  if (HAL_ADC_Init(&hadc3) != HAL_OK)
  {
    Error_Handler();
  }

  /** Configure the analog watchdog
  */
  AnalogWDGConfig.WatchdogMode = ADC_ANALOGWATCHDOG_SINGLE_INJEC;
  AnalogWDGConfig.HighThreshold = 4048;
  AnalogWDGConfig.LowThreshold = 48;
  AnalogWDGConfig.Channel = ADC_CHANNEL_12;
  AnalogWDGConfig.ITMode = ENABLE;
  if (HAL_ADC_AnalogWDGConfig(&hadc3, &AnalogWDGConfig) != HAL_OK)
  {
    Error_Handler();
  }

  /** Configure for the selected ADC regular channel its corresponding rank in the sequencer and its sample time.
  */
  sConfig.Channel = ADC_CHANNEL_12;
  sConfig.Rank = 1;
  sConfig.SamplingTime = ADC_SAMPLETIME_15CYCLES;
  if (HAL_ADC_ConfigChannel(&hadc3, &sConfig) != HAL_OK)
  {
    Error_Handler();
  }

  /** Configures for the selected ADC injected channel its corresponding rank in the sequencer and its sample time
  */
  sConfigInjected.InjectedChannel = ADC_CHANNEL_12;
  sConfigInjected.InjectedRank = 1;
  sConfigInjected.InjectedNbrOfConversion = 4;
  sConfigInjected.InjectedSamplingTime = ADC_SAMPLETIME_15CYCLES;
  sConfigInjected.ExternalTrigInjecConvEdge = ADC_EXTERNALTRIGINJECCONVEDGE_FALLING;
  sConfigInjected.ExternalTrigInjecConv = ADC_EXTERNALTRIGINJECCONV_T1_TRGO;
  sConfigInjected.AutoInjectedConv = DISABLE;
  sConfigInjected.InjectedDiscontinuousConvMode = DISABLE;
  sConfigInjected.InjectedOffset = 0;
  if (HAL_ADCEx_InjectedConfigChannel(&hadc3, &sConfigInjected) != HAL_OK)
  {
    Error_Handler();
  }

  /** Configures for the selected ADC injected channel its corresponding rank in the sequencer and its sample time
  */
  sConfigInjected.InjectedChannel = ADC_CHANNEL_2;
  sConfigInjected.InjectedRank = 2;
  if (HAL_ADCEx_InjectedConfigChannel(&hadc3, &sConfigInjected) != HAL_OK)
  {
    Error_Handler();
  }

  /** Configures for the selected ADC injected channel its corresponding rank in the sequencer and its sample time
  */
  sConfigInjected.InjectedChannel = ADC_CHANNEL_13;
  sConfigInjected.InjectedRank = 3;
  if (HAL_ADCEx_InjectedConfigChannel(&hadc3, &sConfigInjected) != HAL_OK)
  {
    Error_Handler();
  }

  /** Configures for the selected ADC injected channel its corresponding rank in the sequencer and its sample time
  */
  sConfigInjected.InjectedChannel = ADC_CHANNEL_2;
  sConfigInjected.InjectedRank = 4;
  if (HAL_ADCEx_InjectedConfigChannel(&hadc3, &sConfigInjected) != HAL_OK)
  {
    Error_Handler();
  }

}

static void MX_CAN1_Init(void)
{

  hcan1.Instance = CAN1;
  hcan1.Init.Prescaler = 6;
  hcan1.Init.Mode = CAN_MODE_NORMAL;
  hcan1.Init.SyncJumpWidth = CAN_SJW_2TQ;
  hcan1.Init.TimeSeg1 = CAN_BS1_11TQ;
  hcan1.Init.TimeSeg2 = CAN_BS2_2TQ;
  hcan1.Init.TimeTriggeredMode = DISABLE;
  hcan1.Init.AutoBusOff = DISABLE;
  hcan1.Init.AutoWakeUp = DISABLE;
  hcan1.Init.AutoRetransmission = DISABLE;
  hcan1.Init.ReceiveFifoLocked = DISABLE;
  hcan1.Init.TransmitFifoPriority = ENABLE;
  if (HAL_CAN_Init(&hcan1) != HAL_OK)
  {
    Error_Handler();
  }

}

static void MX_SPI3_Init(void)
{

  /* SPI3 parameter configuration*/
  hspi3.Instance = SPI3;
  hspi3.Init.Mode = SPI_MODE_MASTER;
  hspi3.Init.Direction = SPI_DIRECTION_1LINE;
  hspi3.Init.DataSize = SPI_DATASIZE_16BIT;
  hspi3.Init.CLKPolarity = SPI_POLARITY_LOW;
  hspi3.Init.CLKPhase = SPI_PHASE_2EDGE;
  hspi3.Init.NSS = SPI_NSS_SOFT;
  hspi3.Init.BaudRatePrescaler = SPI_BAUDRATEPRESCALER_32;
  hspi3.Init.FirstBit = SPI_FIRSTBIT_MSB;
  hspi3.Init.TIMode = SPI_TIMODE_DISABLE;
  hspi3.Init.CRCCalculation = SPI_CRCCALCULATION_DISABLE;
  hspi3.Init.CRCPolynomial = 10;
  if (HAL_SPI_Init(&hspi3) != HAL_OK)
  {
    Error_Handler();
  }

}

static void MX_TIM1_Init(void)
{

  TIM_MasterConfigTypeDef sMasterConfig = {0};
  TIM_OC_InitTypeDef sConfigOC = {0};
  TIM_BreakDeadTimeConfigTypeDef sBreakDeadTimeConfig = {0};

  htim1.Instance = TIM1;
  htim1.Init.Prescaler = 1;
  htim1.Init.CounterMode = TIM_COUNTERMODE_CENTERALIGNED1;
  htim1.Init.Period = 1023;
  htim1.Init.ClockDivision = TIM_CLOCKDIVISION_DIV1;
  htim1.Init.RepetitionCounter = 0;
  htim1.Init.AutoReloadPreload = TIM_AUTORELOAD_PRELOAD_DISABLE;
  if (HAL_TIM_PWM_Init(&htim1) != HAL_OK)
  {
    Error_Handler();
  }
  sMasterConfig.MasterOutputTrigger = TIM_TRGO_OC4REF;
  sMasterConfig.MasterSlaveMode = TIM_MASTERSLAVEMODE_DISABLE;
  if (HAL_TIMEx_MasterConfigSynchronization(&htim1, &sMasterConfig) != HAL_OK)
  {
    Error_Handler();
  }
  sConfigOC.OCMode = TIM_OCMODE_PWM1;
  sConfigOC.Pulse = 512;
  sConfigOC.OCPolarity = TIM_OCPOLARITY_HIGH;
  sConfigOC.OCNPolarity = TIM_OCNPOLARITY_HIGH;
  sConfigOC.OCFastMode = TIM_OCFAST_DISABLE;
  sConfigOC.OCIdleState = TIM_OCIDLESTATE_RESET;
  sConfigOC.OCNIdleState = TIM_OCNIDLESTATE_RESET;
  if (HAL_TIM_PWM_ConfigChannel(&htim1, &sConfigOC, TIM_CHANNEL_1) != HAL_OK)
  {
    Error_Handler();
  }
  if (HAL_TIM_PWM_ConfigChannel(&htim1, &sConfigOC, TIM_CHANNEL_2) != HAL_OK)
  {
    Error_Handler();
  }
  if (HAL_TIM_PWM_ConfigChannel(&htim1, &sConfigOC, TIM_CHANNEL_3) != HAL_OK)
  {
    Error_Handler();
  }
  if (HAL_TIM_PWM_ConfigChannel(&htim1, &sConfigOC, TIM_CHANNEL_4) != HAL_OK)
  {
    Error_Handler();
  }
  sBreakDeadTimeConfig.OffStateRunMode = TIM_OSSR_ENABLE;
  sBreakDeadTimeConfig.OffStateIDLEMode = TIM_OSSI_ENABLE;
  sBreakDeadTimeConfig.LockLevel = TIM_LOCKLEVEL_OFF;
  sBreakDeadTimeConfig.DeadTime = 80;
  sBreakDeadTimeConfig.BreakState = TIM_BREAK_ENABLE;
  sBreakDeadTimeConfig.BreakPolarity = TIM_BREAKPOLARITY_LOW;
  sBreakDeadTimeConfig.AutomaticOutput = TIM_AUTOMATICOUTPUT_DISABLE;
  if (HAL_TIMEx_ConfigBreakDeadTime(&htim1, &sBreakDeadTimeConfig) != HAL_OK)
  {
    Error_Handler();
  }
  HAL_TIM_MspPostInit(&htim1);

}

static void MX_TIM2_Init(void)
{

  TIM_MasterConfigTypeDef sMasterConfig = {0};
  TIM_OC_InitTypeDef sConfigOC = {0};

  htim2.Instance = TIM2;
  htim2.Init.Prescaler = 83;
  htim2.Init.CounterMode = TIM_COUNTERMODE_UP;
  htim2.Init.Period = 9999;
  htim2.Init.ClockDivision = TIM_CLOCKDIVISION_DIV1;
  htim2.Init.AutoReloadPreload = TIM_AUTORELOAD_PRELOAD_DISABLE;
  if (HAL_TIM_PWM_Init(&htim2) != HAL_OK)
  {
    Error_Handler();
  }
  sMasterConfig.MasterOutputTrigger = TIM_TRGO_UPDATE;
  sMasterConfig.MasterSlaveMode = TIM_MASTERSLAVEMODE_DISABLE;
  if (HAL_TIMEx_MasterConfigSynchronization(&htim2, &sMasterConfig) != HAL_OK)
  {
    Error_Handler();
  }
  sConfigOC.OCMode = TIM_OCMODE_PWM1;
  sConfigOC.Pulse = 0;
  sConfigOC.OCPolarity = TIM_OCPOLARITY_HIGH;
  sConfigOC.OCFastMode = TIM_OCFAST_DISABLE;
  if (HAL_TIM_PWM_ConfigChannel(&htim2, &sConfigOC, TIM_CHANNEL_1) != HAL_OK)
  {
    Error_Handler();
  }

}

static void MX_TIM3_Init(void)
{

  TIM_Encoder_InitTypeDef sConfig = {0};
  TIM_MasterConfigTypeDef sMasterConfig = {0};
  TIM_IC_InitTypeDef sConfigIC = {0};

  htim3.Instance = TIM3;
  htim3.Init.Prescaler = 0;
  htim3.Init.CounterMode = TIM_COUNTERMODE_UP;
  htim3.Init.Period = 4096;
  htim3.Init.ClockDivision = TIM_CLOCKDIVISION_DIV1;
  htim3.Init.AutoReloadPreload = TIM_AUTORELOAD_PRELOAD_DISABLE;
  if (HAL_TIM_IC_Init(&htim3) != HAL_OK)
  {
    Error_Handler();
  }
  sConfig.EncoderMode = TIM_ENCODERMODE_TI12;
  sConfig.IC1Polarity = TIM_ICPOLARITY_RISING;
  sConfig.IC1Selection = TIM_ICSELECTION_DIRECTTI;
  sConfig.IC1Prescaler = TIM_ICPSC_DIV1;
  sConfig.IC1Filter = 0;
  sConfig.IC2Polarity = TIM_ICPOLARITY_RISING;
  sConfig.IC2Selection = TIM_ICSELECTION_DIRECTTI;
  sConfig.IC2Prescaler = TIM_ICPSC_DIV1;
  sConfig.IC2Filter = 0;
  if (HAL_TIM_Encoder_Init(&htim3, &sConfig) != HAL_OK)
  {
    Error_Handler();
  }
  sMasterConfig.MasterOutputTrigger = TIM_TRGO_RESET;
  sMasterConfig.MasterSlaveMode = TIM_MASTERSLAVEMODE_DISABLE;
  if (HAL_TIMEx_MasterConfigSynchronization(&htim3, &sMasterConfig) != HAL_OK)
  {
    Error_Handler();
  }
  sConfigIC.ICPolarity = TIM_INPUTCHANNELPOLARITY_RISING;
  sConfigIC.ICSelection = TIM_ICSELECTION_DIRECTTI;
  sConfigIC.ICPrescaler = TIM_ICPSC_DIV1;
  sConfigIC.ICFilter = 3;
  if (HAL_TIM_IC_ConfigChannel(&htim3, &sConfigIC, TIM_CHANNEL_3) != HAL_OK)
  {
    Error_Handler();
  }

}

static void MX_TIM4_Init(void)
{

  TIM_MasterConfigTypeDef sMasterConfig = {0};
  TIM_OC_InitTypeDef sConfigOC = {0};

  htim4.Instance = TIM4;
  htim4.Init.Prescaler = 83;
  htim4.Init.CounterMode = TIM_COUNTERMODE_UP;
  htim4.Init.Period = 65535;
  htim4.Init.ClockDivision = TIM_CLOCKDIVISION_DIV1;
  htim4.Init.AutoReloadPreload = TIM_AUTORELOAD_PRELOAD_DISABLE;
  if (HAL_TIM_PWM_Init(&htim4) != HAL_OK)
  {
    Error_Handler();
  }
  if (HAL_TIM_OC_Init(&htim4) != HAL_OK)
  {
    Error_Handler();
  }
  sMasterConfig.MasterOutputTrigger = TIM_TRGO_RESET;
  sMasterConfig.MasterSlaveMode = TIM_MASTERSLAVEMODE_DISABLE;
  if (HAL_TIMEx_MasterConfigSynchronization(&htim4, &sMasterConfig) != HAL_OK)
  {
    Error_Handler();
  }
  sConfigOC.OCMode = TIM_OCMODE_PWM1;
  sConfigOC.Pulse = 0;
  sConfigOC.OCPolarity = TIM_OCPOLARITY_HIGH;
  sConfigOC.OCFastMode = TIM_OCFAST_DISABLE;
  if (HAL_TIM_PWM_ConfigChannel(&htim4, &sConfigOC, TIM_CHANNEL_1) != HAL_OK)
  {
    Error_Handler();
  }
  sConfigOC.OCMode = TIM_OCMODE_TIMING;
  if (HAL_TIM_OC_ConfigChannel(&htim4, &sConfigOC, TIM_CHANNEL_3) != HAL_OK)
  {
    Error_Handler();
  }

}

static void MX_TIM7_Init(void)
{

  TIM_MasterConfigTypeDef sMasterConfig = {0};

  htim7.Instance = TIM7;
  htim7.Init.Prescaler = 0;
  htim7.Init.CounterMode = TIM_COUNTERMODE_UP;
  htim7.Init.Period = 65535;
  htim7.Init.AutoReloadPreload = TIM_AUTORELOAD_PRELOAD_DISABLE;
  if (HAL_TIM_Base_Init(&htim7) != HAL_OK)
  {
    Error_Handler();
  }
  sMasterConfig.MasterOutputTrigger = TIM_TRGO_RESET;
  sMasterConfig.MasterSlaveMode = TIM_MASTERSLAVEMODE_DISABLE;
  if (HAL_TIMEx_MasterConfigSynchronization(&htim7, &sMasterConfig) != HAL_OK)
  {
    Error_Handler();
  }

}

static void MX_USART3_UART_Init(void)
{

  huart3.Instance = USART3;
  huart3.Init.BaudRate = 9600;
  huart3.Init.WordLength = UART_WORDLENGTH_8B;
  huart3.Init.StopBits = UART_STOPBITS_1;
  huart3.Init.Parity = UART_PARITY_NONE;
  huart3.Init.Mode = UART_MODE_TX_RX;
  huart3.Init.HwFlowCtl = UART_HWCONTROL_NONE;
  huart3.Init.OverSampling = UART_OVERSAMPLING_16;
  if (HAL_UART_Init(&huart3) != HAL_OK)
  {
    Error_Handler();
  }

}

static void MX_DMA_Init(void)
{

  /* DMA controller clock enable */
  __HAL_RCC_DMA1_CLK_ENABLE();
  __HAL_RCC_DMA2_CLK_ENABLE();

  /* DMA interrupt init */
  /* DMA1_Stream1_IRQn interrupt configuration */
  HAL_NVIC_SetPriority(DMA1_Stream1_IRQn, 5, 0);
  HAL_NVIC_EnableIRQ(DMA1_Stream1_IRQn);
  /* DMA1_Stream3_IRQn interrupt configuration */
  HAL_NVIC_SetPriority(DMA1_Stream3_IRQn, 5, 0);
  HAL_NVIC_EnableIRQ(DMA1_Stream3_IRQn);
 /* DMA1_Stream0_IRQn interrupt configuration */
 HAL_NVIC_SetPriority(DMA1_Stream0_IRQn, 5, 0);
 HAL_NVIC_EnableIRQ(DMA1_Stream0_IRQn);
 /* DMA1_Stream5_IRQn interrupt configuration */
 HAL_NVIC_SetPriority(DMA1_Stream5_IRQn, 5, 0);
 HAL_NVIC_EnableIRQ(DMA1_Stream5_IRQn);

}

static void MX_GPIO_Init(void)
{
  GPIO_InitTypeDef GPIO_InitStruct = {0};

  /* GPIO Ports Clock Enable */
  __HAL_RCC_GPIOH_CLK_ENABLE();
  __HAL_RCC_GPIOC_CLK_ENABLE();
  __HAL_RCC_GPIOA_CLK_ENABLE();
  __HAL_RCC_GPIOB_CLK_ENABLE();
  __HAL_RCC_GPIOD_CLK_ENABLE();

  /*Configure GPIO pin Output Level */
  HAL_GPIO_WritePin(GPIOD, GPIO_PIN_2, GPIO_PIN_RESET);

  /*Configure GPIO pin Output Level */
  HAL_GPIO_WritePin(GPIOB, GPIO_PIN_5|GPIO_PIN_7, GPIO_PIN_RESET);

  /*Configure GPIO pin : PD2 */
  GPIO_InitStruct.Pin = GPIO_PIN_2;
  GPIO_InitStruct.Mode = GPIO_MODE_OUTPUT_PP;
  GPIO_InitStruct.Pull = GPIO_NOPULL;
  GPIO_InitStruct.Speed = GPIO_SPEED_FREQ_LOW;
  HAL_GPIO_Init(GPIOD, &GPIO_InitStruct);

  /*Configure GPIO pins : PB5 PB7 */
  GPIO_InitStruct.Pin = GPIO_PIN_5|GPIO_PIN_7;
  GPIO_InitStruct.Mode = GPIO_MODE_OUTPUT_PP;
  GPIO_InitStruct.Pull = GPIO_NOPULL;
  GPIO_InitStruct.Speed = GPIO_SPEED_FREQ_LOW;
  HAL_GPIO_Init(GPIOB, &GPIO_InitStruct);

}

/* USER CODE BEGIN 4 */

/**
  * @brief I2C2 Initialization Function
  * @param None
  * @retval None
  */
static void MX_I2C2_Init(void)
{

  /* USER CODE BEGIN I2C2_Init 0 */

  /* USER CODE END I2C2_Init 0 */

  /* USER CODE BEGIN I2C2_Init 1 */

  /* USER CODE END I2C2_Init 1 */
  hi2c2.Instance = I2C2;
  hi2c2.Init.ClockSpeed = 100000;
  hi2c2.Init.DutyCycle = I2C_DUTYCYCLE_2;
  hi2c2.Init.OwnAddress1 = 0;
  hi2c2.Init.AddressingMode = I2C_ADDRESSINGMODE_7BIT;
  hi2c2.Init.DualAddressMode = I2C_DUALADDRESS_DISABLE;
  hi2c2.Init.OwnAddress2 = 0;
  hi2c2.Init.GeneralCallMode = I2C_GENERALCALL_DISABLE;
  hi2c2.Init.NoStretchMode = I2C_NOSTRETCH_DISABLE;
  if (HAL_I2C_Init(&hi2c2) != HAL_OK)
  {
    Error_Handler();
  }
  /* USER CODE BEGIN I2C2_Init 2 */

  /* USER CODE END I2C2_Init 2 */

}
/* USER CODE END 4 */

void StartDefaultTask(void *argument)
{
  /* init code for USB_DEVICE */
  MX_USB_DEVICE_Init();
  /* USER CODE BEGIN 5 */
  /* Infinite loop */

  for(;;)
  {

//	  HAL_GPIO_TogglePin(LED_GREEN_GPIO_Port, LED_GREEN_Pin);

	  osDelay(200);
  }
  /* USER CODE END 5 */
}

void HAL_TIM_PeriodElapsedCallback(TIM_HandleTypeDef *htim)
{
  if (htim->Instance == TIM6) {
    HAL_IncTick();
  }
}

void Error_Handler(void)
{
  __disable_irq();
  while (1) {
  }
}

#ifdef  USE_FULL_ASSERT
/**
  * @brief  Reports the name of the source file and the source line number
  *         where the assert_param error has occurred.
  * @param  file: pointer to the source file name
  * @param  line: assert_param error line source number
  * @retval None
  */
void assert_failed(uint8_t *file, uint32_t line)
{
  /* USER CODE BEGIN 6 */
  /* User can add his own implementation to report the file name and line
     number,
     ex: printf("Wrong parameters value: file %s on line %d\r\n", file, line) */
  /* USER CODE END 6 */
}
#endif /* USE_FULL_ASSERT */
